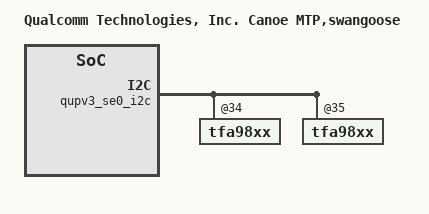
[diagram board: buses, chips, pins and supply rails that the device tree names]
/dts-v1/;
/plugin/;
#include <dt-bindings/oplus/hw-id.h>
#include "../canoe-audio-mtp.dts"

#include "canoe-audio-overlay-common.dtsi"
#include "swangoose-25001-audio-canoe-overlay.dtsi"

/ {
	model = "Qualcomm Technologies, Inc. Canoe MTP,swangoose";

	oplus,project-id = <25001 25002 25201>;
	oplus,hw-id = <OPLUS_EVB1 OPLUS_EVB2 OPLUS_T0>;
};

&oplus_audio_drv {
	oplus,config-path = "t0_params";
};

&qupv3_se0_i2c {
	tfa98xx@34 {
		tfa_fw_name = "tfa98xx_t0.cnt";
	};
	tfa98xx@35 {
		tfa_fw_name = "tfa98xx_t0.cnt";
	};
};

&canoe_snd {
	oplus-level-shifter-supply = <&L4B>;
};
